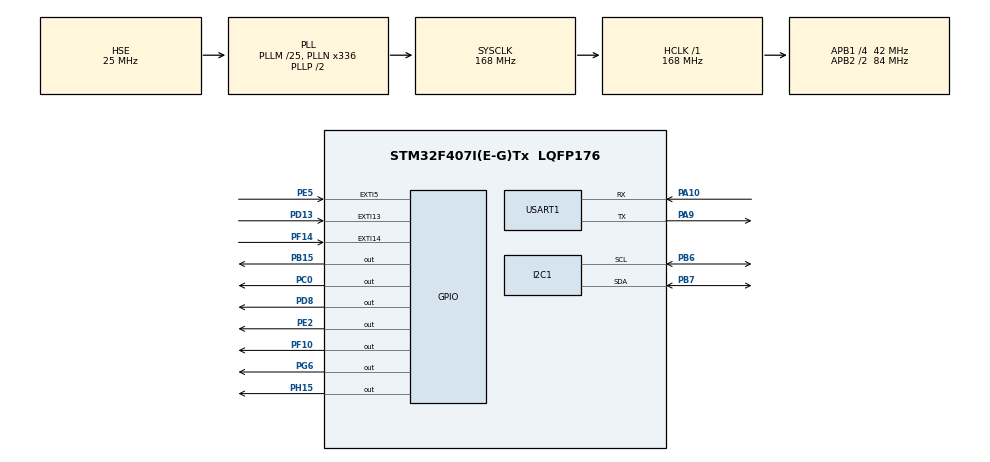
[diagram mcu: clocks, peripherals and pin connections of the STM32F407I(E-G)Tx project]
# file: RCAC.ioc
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I2C1.DualAddressMode=I2C_DUALADDRESS_DISABLE
I2C1.GeneralCallMode=I2C_GENERALCALL_ENABLE
IWDG.Prescaler=IWDG_PRESCALER_64
Mcu.Family=STM32F4
Mcu.Name=STM32F407I(E-G)Tx
Mcu.Package=LQFP176
NVIC.EXTI15_10_IRQn=true\:2\:0\:true\:false\:true
NVIC.I2C1_ER_IRQn=true\:0\:0\:false\:false\:true
NVIC.I2C1_EV_IRQn=true\:0\:0\:false\:false\:true
NVIC.PriorityGroup=NVIC_PRIORITYGROUP_4
NVIC.TIM3_IRQn=true\:2\:0\:true\:false\:true
NVIC.USART1_IRQn=true\:3\:0\:true\:false\:true
PA10.Mode=Asynchronous
PA10.Signal=USART1_RX
PA9.Mode=Asynchronous
PA9.Signal=USART1_TX
PB15.Signal=GPIO_Output
PB6.Mode=I2C
PB6.Signal=I2C1_SCL
PB7.Mode=I2C
PB7.Signal=I2C1_SDA
PC0.Signal=GPIO_Output
PD13.GPIO_ModeDefaultEXTI=GPIO_MODE_IT_FALLING
PD13.Signal=GPXTI13
PD8.GPIO_ModeDefaultOutputPP=GPIO_MODE_OUTPUT_PP
PD8.GPIO_PuPd=GPIO_PULLUP
PD8.Signal=GPIO_Output
PE2.GPIO_ModeDefaultOutputPP=GPIO_MODE_OUTPUT_PP
PE2.GPIO_PuPd=GPIO_PULLUP
PE2.Signal=GPIO_Output
PE5.Signal=GPXTI5
PF10.Signal=GPIO_Output
PF14.GPIO_ModeDefaultEXTI=GPIO_MODE_IT_RISING_FALLING
PF14.Signal=GPXTI14
PG6.Signal=GPIO_Output
PH0-OSC_IN.Mode=HSE-External-Oscillator
PH0-OSC_IN.Signal=RCC_OSC_IN
PH1-OSC_OUT.Mode=HSE-External-Oscillator
PH1-OSC_OUT.Signal=RCC_OSC_OUT
PH15.GPIO_ModeDefaultOutputPP=GPIO_MODE_OUTPUT_OD
PH15.Signal=GPIO_Output
ProjectManager.HeapSize=0x200
ProjectManager.StackSize=0x400
ProjectManager.TargetToolchain=MDK-ARM V5
RCC.48MHZClocksFreq_Value=84000000
RCC.AHBFreq_Value=168000000
RCC.APB1CLKDivider=RCC_HCLK_DIV4
RCC.APB1Freq_Value=42000000
RCC.APB1TimFreq_Value=84000000
RCC.APB2CLKDivider=RCC_HCLK_DIV2
RCC.APB2Freq_Value=84000000
RCC.APB2TimFreq_Value=168000000
RCC.CortexFreq_Value=168000000
RCC.HCLKFreq_Value=168000000
RCC.HSE_VALUE=25000000
RCC.HSI_VALUE=16000000
RCC.LSE_VALUE=32768
RCC.PLLM=25
RCC.PLLN=336
RCC.PLLSourceVirtual=RCC_PLLSOURCE_HSE
RCC.SYSCLKFreq_VALUE=168000000
RCC.SYSCLKSource=RCC_SYSCLKSOURCE_PLLCLK
RCC.VCOOutputFreq_Value=336000000
TIM3.ClockDivision=TIM_CLOCKDIVISION_DIV1
TIM3.Period=20000
TIM3.Prescaler=83
VP_IWDG_VS_IWDG.Mode=IWDG_Activate
VP_TIM3_VS_ClockSourceINT.Mode=Internal
board=RCAC

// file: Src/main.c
/**
 ******************************************************************************
 * File Name          : main.c
 * Description        : Main program body
 ******************************************************************************
 *
 * COPYRIGHT(c) 2025 STMicroelectronics
 *
 * Redistribution and use in source and binary forms, with or without modification,
 * are permitted provided that the following conditions are met:
 *   1. Redistributions of source code must retain the above copyright notice,
 *      this list of conditions and the following disclaimer.
 *   2. Redistributions in binary form must reproduce the above copyright notice,
 *      this list of conditions and the following disclaimer in the documentation
 *      and/or other materials provided with the distribution.
 *   3. Neither the name of STMicroelectronics nor the names of its contributors
 *      may be used to endorse or promote products derived from this software
 *      without specific prior written permission.
 *
 * THIS SOFTWARE IS PROVIDED BY THE COPYRIGHT HOLDERS AND CONTRIBUTORS "AS IS"
 * AND ANY EXPRESS OR IMPLIED WARRANTIES, INCLUDING, BUT NOT LIMITED TO, THE
 * IMPLIED WARRANTIES OF MERCHANTABILITY AND FITNESS FOR A PARTICULAR PURPOSE ARE
 * DISCLAIMED. IN NO EVENT SHALL THE COPYRIGHT HOLDER OR CONTRIBUTORS BE LIABLE
 * FOR ANY DIRECT, INDIRECT, INCIDENTAL, SPECIAL, EXEMPLARY, OR CONSEQUENTIAL
 * DAMAGES (INCLUDING, BUT NOT LIMITED TO, PROCUREMENT OF SUBSTITUTE GOODS OR
 * SERVICES; LOSS OF USE, DATA, OR PROFITS; OR BUSINESS INTERRUPTION) HOWEVER
 * CAUSED AND ON ANY THEORY OF LIABILITY, WHETHER IN CONTRACT, STRICT LIABILITY,
 * OR TORT (INCLUDING NEGLIGENCE OR OTHERWISE) ARISING IN ANY WAY OUT OF THE USE
 * OF THIS SOFTWARE, EVEN IF ADVISED OF THE POSSIBILITY OF SUCH DAMAGE.
 *
 ******************************************************************************
 */
#include "stm32f4xx_hal.h"
#include "i2c.h"
#include "iwdg.h"
#include "tim.h"
#include "usart.h"
#include "gpio.h"
#include "sysSecurity.h"

/* USER CODE BEGIN Includes */
#include "zlg7290.h"
#include "LM75A.h"
#include "Dc_motor.h"
#include "beep.h"
// #include "check.h"
#include "mxconstants.h"
#include "led.h"
#include "key.h"
/* USER CODE END Includes */

/* USER CODE BEGIN PV */
/* Private variables ---------------------------------------------------------*/
SystemStateBlock systemState;

// NVMSystemStateRecord systemStateRecord = {
//     .state_data = &systemState,
//     .checksum = 0};

// uint32_t unStartFlag __at (0x40003FF4); /* 热启动MagicNumber保存位置 */

uint8_t Buffer_DC[2] = {0x00, 0xff};

static uint32_t unStartFlag __attribute__((at(0x20003FF0), zero_init));
NVMSystemStateRecord backupState0 __attribute__((at(0x20004000), zero_init));
NVMSystemStateRecord backupState1 __attribute__((at(0x20005000), zero_init));

/* USER CODE END PV */

void SystemClock_Config(void);
void Error_Handler(void);

/* USER CODE BEGIN PFP */
/* Private function prototypes -----------------------------------------------*/
int fputc(int ch, FILE *f);
void handleKey(void);
void initSystemState(void);
void handleStateMachine(void);
void initDCMotor(void);
void handleDCMotor(void);
void handleMarquee(void);
void turnOffMarquee(void);
void initMarquee(void);
/* USER CODE END PFP */

int main(void)
{
  HAL_Init();

  /* Configure the system clock */
  SystemClock_Config();
  /* Initialize all configured peripherals */
  MX_GPIO_Init();
  MX_I2C1_Init();
  MX_USART1_UART_Init();
  MX_TIM3_Init();
  MX_IWDG_Init(); // 启用独立看门狗

  /* USER CODE BEGIN 2 */
  LM75SetMode(CONF_ADDR, NORMOR_MODE);
  HAL_TIM_Base_Start_IT(&htim3);
  initMarquee();

  /* USER CODE BEGIN 1 */
  if (unStartFlag != MagicNumber)
  {
    unStartFlag = MagicNumber; /* 设置MagicNumber，表示冷启动 */
    /* USER CODE END 1 */

    /* MCU Configuration----------------------------------------------------------*/

    /* Reset of all peripherals, Initializes the Flash interface and the Systick. */

    initSystemState();

  }
  else
  {
    loadSystemState();
  }

  uint8_t seq[4] = {0};    // 序列检测数组
  uint8_t random_path = 0; // 随机路径选择

  /* Infinite loop */
  while (1)
  {
    // 序列数组清零
    for (int i = 0; i < 4; i++)
      seq[i] = 0;

    // 随机选择执行路径
    random_path = rand() % 2;

    if (systemState.zlg7290KeyStates.canRead == 1)
    {
      /* 重置读取标志，读键值 */

      systemState.zlg7290KeyStates.canRead = 0;
      I2C_ZLG7290_Read(&hi2c1, 0x71, 0x01, &systemState.zlg7290KeyStates.readBuffer, 1);

      /* 清理按键标志 */
      if (systemState.currentState == STATE_SLEEP)
        systemState.zlg7290KeyStates.anyBtnPressed = 0;

      /* 成功读取键值，重置无操作时间，触发蜂鸣器响应 */
      if (systemState.currentState == STATE_NORMAL)
        systemState.zlg7290KeyStates.idleTicks = 0;

      if (systemState.currentState != STATE_POWEROFF)
        beepOnce(BeepDelay);

      /* 根据读缓冲区中的键值，执行不同逻辑 */
      handleKey();

      /* 重置读缓冲区，避免影响下一次读取 */
      systemState.zlg7290KeyStates.readBuffer = 0;
    }

    // 乱序执行分支A
    if (random_path == 0)
    {
      seq[0] = 1; // 步骤1: 状态检测

      if (seq[0] == 1)
      {
        handleStateMachine();
        saveSystemState();

        seq[1] = 2; // 步骤2: 状态机处理
      }

      if (seq[0] == 1 && seq[1] == 2)
      {
        refreshLED();
        seq[2] = 3; // 步骤3: LED刷新
      }

      if (seq[0] == 1 && seq[1] == 2 && seq[2] == 3)
      {
        if (systemState.currentState != STATE_POWEROFF)
          handleDCMotor();
        seq[3] = 4; // 步骤4: 电机控制
      }
    }
    // 乱序执行分支B
    else
    {
      seq[0] = 1; // 步骤1: 状态检测

      if (seq[0] == 1)
      {
        if (systemState.currentState != STATE_POWEROFF)
          handleDCMotor();
        seq[1] = 4; // 步骤4: 电机控制
      }

      if (seq[0] == 1 && seq[1] == 4)
      {
        handleStateMachine();
        saveSystemState();

        seq[2] = 2; // 步骤2: 状态机处理
      }

      if (seq[0] == 1 && seq[1] == 4 && seq[2] == 2)
      {
        refreshLED();
        seq[3] = 3; // 步骤3: LED刷新
      }
    }

    // 始终执行的功能
    if (systemState.currentState == STATE_NORMAL)
      handleMarquee();

    // 喂狗操作
    MX_IWDG_Refresh();

    HAL_Delay(100);
  }
}

/** System Clock Configuration
 */
void SystemClock_Config(void)
{

  RCC_OscInitTypeDef RCC_OscInitStruct;
  RCC_ClkInitTypeDef RCC_ClkInitStruct;

  __HAL_RCC_PWR_CLK_ENABLE();

  __HAL_PWR_VOLTAGESCALING_CONFIG(PWR_REGULATOR_VOLTAGE_SCALE1);

  RCC_OscInitStruct.OscillatorType = RCC_OSCILLATORTYPE_LSI | RCC_OSCILLATORTYPE_HSE;
  RCC_OscInitStruct.HSEState = RCC_HSE_ON;
  RCC_OscInitStruct.LSIState = RCC_LSI_ON;
  RCC_OscInitStruct.PLL.PLLState = RCC_PLL_ON;
  RCC_OscInitStruct.PLL.PLLSource = RCC_PLLSOURCE_HSE;
  RCC_OscInitStruct.PLL.PLLM = 25;
  RCC_OscInitStruct.PLL.PLLN = 336;
  RCC_OscInitStruct.PLL.PLLP = RCC_PLLP_DIV2;
  RCC_OscInitStruct.PLL.PLLQ = 4;
  if (HAL_RCC_OscConfig(&RCC_OscInitStruct) != HAL_OK)
  {
    Error_Handler();
  }

  RCC_ClkInitStruct.ClockType = RCC_CLOCKTYPE_HCLK | RCC_CLOCKTYPE_SYSCLK | RCC_CLOCKTYPE_PCLK1 | RCC_CLOCKTYPE_PCLK2;
  RCC_ClkInitStruct.SYSCLKSource = RCC_SYSCLKSOURCE_PLLCLK;
  RCC_ClkInitStruct.AHBCLKDivider = RCC_SYSCLK_DIV1;
  RCC_ClkInitStruct.APB1CLKDivider = RCC_HCLK_DIV4;
  RCC_ClkInitStruct.APB2CLKDivider = RCC_HCLK_DIV2;
  if (HAL_RCC_ClockConfig(&RCC_ClkInitStruct, FLASH_LATENCY_5) != HAL_OK)
  {
    Error_Handler();
  }

  HAL_SYSTICK_Config(HAL_RCC_GetHCLKFreq() / 10000);

  HAL_SYSTICK_CLKSourceConfig(SYSTICK_CLKSOURCE_HCLK);

  /* SysTick_IRQn interrupt configuration */
  HAL_NVIC_SetPriority(SysTick_IRQn, 0, 0);
}

/* USER CODE BEGIN 4 */
int fputc(int ch, FILE *f)
{
  uint8_t tmp[1] = {0};
  tmp[0] = (uint8_t)ch;
  HAL_UART_Transmit(&huart1, tmp, 1, 10);
  return ch;
}

/* 系统时钟中断 */
void HAL_SYSTICK_Callback(void)
{
  /* 若数码管当前工作状态为Normal且无操作时间未超过阈值，则累加无操作时间 */
  if (systemState.currentState == STATE_NORMAL && systemState.zlg7290KeyStates.idleTicks < ZLG7290MaxIdleTicks)
    systemState.zlg7290KeyStates.idleTicks++;
  if (systemState.zlg7290KeyStates.idleTicks > 800)
    saveSystemState();
}

void HAL_GPIO_EXTI_Callback(uint16_t GPIO_Pin)
{
  /* 接收到EXTI13时，设置zlg7290按键读取标志 */
  if (GPIO_Pin == GPIO_PIN_13)
    systemState.zlg7290KeyStates.canRead = 1;
}

void initSystemState(void)
{
  systemState.zlg7290KeyStates.readBuffer = 0;      /* ZLG7290键值缓冲区 */
  systemState.zlg7290KeyStates.canRead = 0;         /* ZLG7290是否可读标志 */
  systemState.zlg7290KeyStates.idleTicks = 0;       /* ZLG7290按键未被按下时间累加器 */
  systemState.zlg7290KeyStates.powerBtnPressed = 0; /* 通电时工作状态为PowerOff */
  systemState.zlg7290KeyStates.anyBtnPressed = 0;   /* 任意按钮被按下标志 */
  systemState.zlg7290KeyStates.invoked = 0;         /* ZLG7290中断发生标志 */

  /* 按键A */
  systemState.zlg7290KeyStates.zlg7290KeyDebounce[0].keyCode = 0x19;
  systemState.zlg7290KeyStates.zlg7290KeyDebounce[0].keyState = KEY_IDLE;
  systemState.zlg7290KeyStates.zlg7290KeyDebounce[0].judgeTimes = 0;

  /* 按键B */
  systemState.zlg7290KeyStates.zlg7290KeyDebounce[1].keyCode = 0x11;
  systemState.zlg7290KeyStates.zlg7290KeyDebounce[1].keyState = KEY_IDLE;
  systemState.zlg7290KeyStates.zlg7290KeyDebounce[1].judgeTimes = 0;

  /* 按键C */
  systemState.zlg7290KeyStates.zlg7290KeyDebounce[2].keyCode = 0x01;
  systemState.zlg7290KeyStates.zlg7290KeyDebounce[2].keyState = KEY_IDLE;
  systemState.zlg7290KeyStates.zlg7290KeyDebounce[2].judgeTimes = 0;

  systemState.fanStates.targetSpeedLevel = SPEED_LEVEL_1; /* 默认风扇转速为1档 */
  systemState.fanStates.currentSpeedLevel = SPEED_LEVEL_0;

  systemState.currentMarqueeState = MARQUEE_OFF;
  systemState.currentState = STATE_POWEROFF; /* 通电时工作状态为PowerOff */

  systemState.actualTemp = 1;                 /* 实际温度 */
  systemState.targetTemp = DefaultTargetTemp; /* 目标温度 */

  for (int i = 0; i < LEDBUFFER_SIZE; i++)
    systemState.ledBuffer[i] = 0;

  for (int i = 0; i < TEMPBUFFER_SIZE; i++)
    systemState.tempBuffer[i] = 0;

  systemState.tempSum = 0;
  systemState.tempBufferIndex = 0;
  systemState.tempReadCnt = 0;

  // systemStateRecord.checksum = crc16((uint8_t *)systemStateRecord.state_data, sizeof(SystemStateBlock)); /* 校验和 */
}

void handleKey(void)
{
  switch (systemState.zlg7290KeyStates.readBuffer)
  {
  /* 按键A：(Normal | Sleep有效)使targetTemp增加1，上限30 */
  case 0x19:
    if (systemState.currentState == STATE_NORMAL || systemState.currentState == STATE_SLEEP)
    {
      if (systemState.targetTemp < 30)
      {
        systemState.targetTemp++;
        updateLED();
      }
    }
    break;
  /* 按键B：(Normal | Sleep有效)使targetTemp减少1，下限16 */
  case 0x11:
    if (systemState.currentState == STATE_NORMAL || systemState.currentState == STATE_SLEEP)
    {
      if (systemState.targetTemp > 16)
      {
        systemState.targetTemp--;
        updateLED();
      }
    }
    break;
  /* 按键D：(始终有效)power按钮，进行Normal/Sleep和PowerOff之间的状态切换 */
  case 0x01:
    systemState.zlg7290KeyStates.powerBtnPressed = 1;
    break;
  /* 其他按键：无操作 */
  default:
    break;
  }
}

void handleStateMachine(void)
{
  /*
   * 在Normal和Sleep模式下，存在开机/关机和Normal/Sleep两种状态转换
   * 处理优先级: 开机/关机状态转换 > Normal/Sleep状态转换
   * 并且处理开机/关机后，不再处理Normal/Sleep
   * 在PowerOff模式下，仅存在开机/关机状态转换，仅通过标志位判断是否需要转换开机即可
   */
  switch (systemState.currentState)
  {
  case STATE_NORMAL:
    /* 执行关机逻辑 */
    if (systemState.zlg7290KeyStates.powerBtnPressed == 1)
    {
      systemState.zlg7290KeyStates.powerBtnPressed = 0;

      /* 设置工作状态为PowerOff，不再从LM75A读取温度 */
      systemState.currentState = STATE_POWEROFF;

      /* 熄灭数码管 */
      turnOffLED();

      /* 关闭风扇(若本关闭，则不操作) */
      if (systemState.fanStates.currentSpeedLevel != SPEED_LEVEL_0)
      {
        /* 停转 */
        DC_Motor_Pin_Low();
        I2C_DC_Motor_Write(&hi2c1, DC_Motor_Addr, 0x00, &Buffer_DC[0], 1);
        systemState.fanStates.currentSpeedLevel = SPEED_LEVEL_0;
      }

      /* 关闭Marquee */
      turnOffMarquee();
    }
    /* 执行转换到Sleep状态逻辑 */
    else if (systemState.zlg7290KeyStates.idleTicks >= ZLG7290MaxIdleTicks)
    {
      systemState.zlg7290KeyStates.idleTicks = 0;

      /* 设置工作模式为SLEEP，之后TIM3中断读取温度不再点亮LED */
      systemState.currentState = STATE_SLEEP;

      /* 熄灭8段7位数码管 */
      turnOffLED();

      /* 关闭Marquee */
      turnOffMarquee();

    }
    break;
  case STATE_SLEEP:
    /* 执行关机逻辑 */
    if (systemState.zlg7290KeyStates.powerBtnPressed == 1)
    {
      systemState.zlg7290KeyStates.powerBtnPressed = 0;
      systemState.zlg7290KeyStates.anyBtnPressed = 0;

      /* 设置工作状态为PowerOff，不再从LM75A读取温度 */
      systemState.currentState = STATE_POWEROFF;

      /* 关闭风扇(若本关闭，则不操作) */
      if (systemState.fanStates.currentSpeedLevel != SPEED_LEVEL_0)
      {
        /* 停转 */
        DC_Motor_Pin_Low();
        I2C_DC_Motor_Write(&hi2c1, DC_Motor_Addr, 0x00, &Buffer_DC[0], 1);
        systemState.fanStates.currentSpeedLevel = SPEED_LEVEL_0;
      }

      /* 关闭Marquee */
      turnOffMarquee();

			/* ??????? */
			htim3.Init.Period = 20000;
			if (HAL_TIM_Base_Init(&htim3) != HAL_OK)
				Error_Handler();
    }
    /* 执行转换到Normal状态逻辑 */
    else if (systemState.zlg7290KeyStates.anyBtnPressed == 1)
    {
      systemState.zlg7290KeyStates.anyBtnPressed = 0;

      /* 设置工作模式为NORMAL，之后TIM3中断读取温度将点亮LED */
      systemState.currentState = STATE_NORMAL;

      updateLED();
    }
    break;
  case STATE_POWEROFF:
    /* 执行开机逻辑 */
    if (systemState.zlg7290KeyStates.powerBtnPressed == 1)
    {
      systemState.zlg7290KeyStates.powerBtnPressed = 0;

      /* 延时一段时间，让LM75A做好读取温度的准备 */
      HAL_Delay(100);

      /* 设置currentState为NORMAL 之后可以通过TIM3中断从LM75A读取温度 */
      systemState.currentState = STATE_NORMAL;

      while (1)
      {
        /* 无限循环直到actualTemp是一个有效温度 */
        if (systemState.actualTemp != 1)
          break;
      }

      updateLED();

      /* 蜂鸣器响 */
      beepOnce(BeepDelay * 10);
    }
    break;
  /* 不会出现这种情况 */
  default:
    break;
  }
}

void initDCMotor(void)
{
  DC_Motor_Pin_Low();
  I2C_DC_Motor_Write(&hi2c1, DC_Motor_Addr, 0x00, &Buffer_DC[0], 1);
}

void handleDCMotor(void)
{
  /* 如果实际温度大于目标温度，则需开启风扇或调整正在运转的风扇转速 */
  if (systemState.actualTemp > systemState.targetTemp)
  {
    const uint8_t diff = systemState.actualTemp - systemState.targetTemp;
    if (diff > 0 && diff < 2)
      systemState.fanStates.targetSpeedLevel = SPEED_LEVEL_1;
    if (diff >= 2 && diff < 4)
      systemState.fanStates.targetSpeedLevel = SPEED_LEVEL_2;
    if (diff >= 4)
      systemState.fanStates.targetSpeedLevel = SPEED_LEVEL_3;

    /* 如果当前风扇转速和目标相同，则无需改变转速 */
    if (systemState.fanStates.currentSpeedLevel != systemState.fanStates.targetSpeedLevel)
    {
      /* 如果不同，改变风扇转速 */
      DC_Motor_Pin_High();
      switch (systemState.fanStates.targetSpeedLevel)
      {
      /* 正向转速1 */
      case SPEED_LEVEL_1:
        I2C_DC_Motor_Write(&hi2c1, DC_Motor_Addr, 0x0A, &Buffer_DC[1], 1);
        break;
      /* 正向转速2 */
      case SPEED_LEVEL_2:
        I2C_DC_Motor_Write(&hi2c1, DC_Motor_Addr, 0x05, &Buffer_DC[1], 1);
        break;
      /* 正向转速3 */
      case SPEED_LEVEL_3:
        I2C_DC_Motor_Write(&hi2c1, DC_Motor_Addr, 0x03, &Buffer_DC[1], 1);
        break;
      /* 不会出现这种情况 */
      default:
        break;
      }
      /* 设置当前转速为目标转速 */
      systemState.fanStates.currentSpeedLevel = systemState.fanStates.targetSpeedLevel;
    }
  }
  /* 如果实际温度不大于目标温度，则停止正在运转的风扇；若风扇本就停转，则无变化 */
  else
  {
    if (systemState.fanStates.currentSpeedLevel != SPEED_LEVEL_0)
    {
      /* 停转 */
      DC_Motor_Pin_Low();
      I2C_DC_Motor_Write(&hi2c1, DC_Motor_Addr, 0x00, &Buffer_DC[0], 1);
      systemState.fanStates.currentSpeedLevel = SPEED_LEVEL_0;
    }
  }
}

void handleMarquee(void)
{
  /*
   * 四个小LED灯点亮与当前的风速有关
   * 同一时间只有一个灯点亮，它代表着当前风扇转速
   * 即在转速被修改后的currentSpeedLevel值
   * 在点亮前还需熄灭上一次点亮的灯
   */

  /* 熄灭当前Marquee */
  turnOffMarquee();

  /* 根据风速点亮对应Marquee */
  switch (systemState.fanStates.currentSpeedLevel)
  {
  /* 点亮D1 */
  case SPEED_LEVEL_0:
    HAL_GPIO_WritePin(GPIOF, GPIO_PIN_10, GPIO_PIN_RESET);
    systemState.currentMarqueeState = MARQUEE_D1;
    break;
  /* 点亮D2 */
  case SPEED_LEVEL_1:
    HAL_GPIO_WritePin(GPIOC, GPIO_PIN_0, GPIO_PIN_RESET);
    systemState.currentMarqueeState = MARQUEE_D2;
    break;
  /* 点亮D3 */
  case SPEED_LEVEL_2:
    HAL_GPIO_WritePin(GPIOB, GPIO_PIN_15, GPIO_PIN_RESET);
    systemState.currentMarqueeState = MARQUEE_D3;
    break;
  /* 点亮D4 */
  case SPEED_LEVEL_3:
    HAL_GPIO_WritePin(GPIOH, GPIO_PIN_15, GPIO_PIN_RESET);
    systemState.currentMarqueeState = MARQUEE_D4;
    break;
  /* 不会出现这种情况 */
  default:
    break;
  }
}

/* 关闭当前Marquee */
void turnOffMarquee(void)
{
  switch (systemState.currentMarqueeState)
  {
  /* 熄灭D1 */
  case MARQUEE_D1:
    HAL_GPIO_WritePin(GPIOF, GPIO_PIN_10, GPIO_PIN_SET);
    break;
  /* 熄灭D2 */
  case MARQUEE_D2:
    HAL_GPIO_WritePin(GPIOC, GPIO_PIN_0, GPIO_PIN_SET);
    break;
  /* 熄灭D3 */
  case MARQUEE_D3:
    HAL_GPIO_WritePin(GPIOB, GPIO_PIN_15, GPIO_PIN_SET);
    break;
  /* 熄灭D4 */
  case MARQUEE_D4:
    HAL_GPIO_WritePin(GPIOH, GPIO_PIN_15, GPIO_PIN_SET);
    break;
  /* 如果全部关闭，则不操作 */
  default:
    break;
  }

  systemState.currentMarqueeState = MARQUEE_OFF;
}

void initMarquee(void)
{
  HAL_GPIO_WritePin(GPIOF, GPIO_PIN_10, GPIO_PIN_SET);
  HAL_GPIO_WritePin(GPIOC, GPIO_PIN_0, GPIO_PIN_SET);
  HAL_GPIO_WritePin(GPIOB, GPIO_PIN_15, GPIO_PIN_SET);
  HAL_GPIO_WritePin(GPIOH, GPIO_PIN_15, GPIO_PIN_SET);
  systemState.currentMarqueeState = MARQUEE_OFF;
}

/* USER CODE END 4 */

void Error_Handler(void)
{
  while (1)
  {
  }
}

/************************ (C) COPYRIGHT STMicroelectronics *****END OF FILE****/
